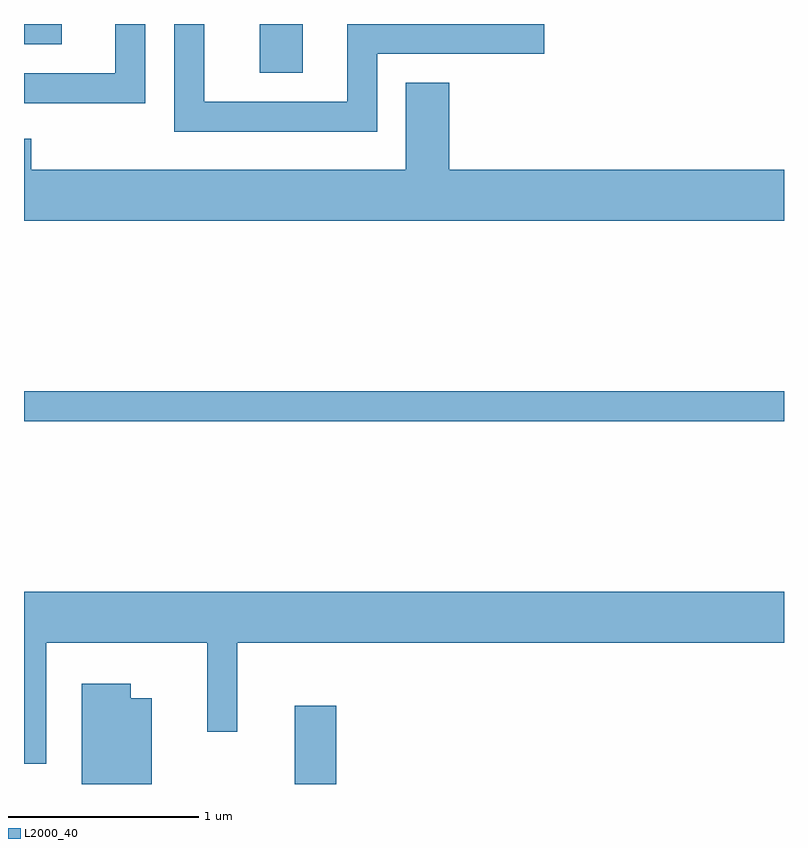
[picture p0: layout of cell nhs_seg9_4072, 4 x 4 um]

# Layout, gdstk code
import gdstk
lib = gdstk.Library(unit=1e-6, precision=1e-09)
def R(c, l, rs):  # rectangles x0, y0, x1, y1
    for r in rs: c.add(gdstk.rectangle(r[:2], r[2:], *l))
def P(c, l, *ps):  # polygons
    for p in ps: c.add(gdstk.Polygon(p, *l))
L2000_40 = (2000, 40)

nhs_seg9_4072 = lib.new_cell('nhs_seg9_4072')
R(nhs_seg9_4072, L2000_40, [(307.036,1964.432,307.254,1964.844), (305.611,1966.341,309.611,1966.499), (306.851,1968.176,307.079,1968.432), (305.611,1968.326,305.809,1968.432)])
P(nhs_seg9_4072, L2000_40, [(306.249,1968.432),(306.091,1968.432),(306.091,1968.174),(305.611,1968.174),(305.611,1968.016),(306.249,1968.016)],
  [(307.469,1968.276),(308.348,1968.276),(308.348,1968.432),(307.311,1968.432),(307.311,1968.024),(306.559,1968.024),(306.559,1968.432),(306.401,1968.432),(306.401,1967.866),(307.469,1967.866)],
  [(309.611,1967.664),(307.849,1967.664),(307.849,1968.124),(307.621,1968.124),(307.621,1967.664),(305.649,1967.664),(305.649,1967.829),(305.611,1967.829),(305.611,1967.396),(309.611,1967.396)],
  [(305.729,1965.176),(306.576,1965.176),(306.576,1964.708),(306.734,1964.708),(306.734,1965.176),(309.611,1965.176),(309.611,1965.444),(305.611,1965.444),(305.611,1964.538),(305.729,1964.538)],
  [(306.284,1964.884),(306.174,1964.884),(306.174,1964.959),(305.916,1964.959),(305.916,1964.432),(306.284,1964.432)])

lib.write_gds('nhs_seg9_4072.gds')
